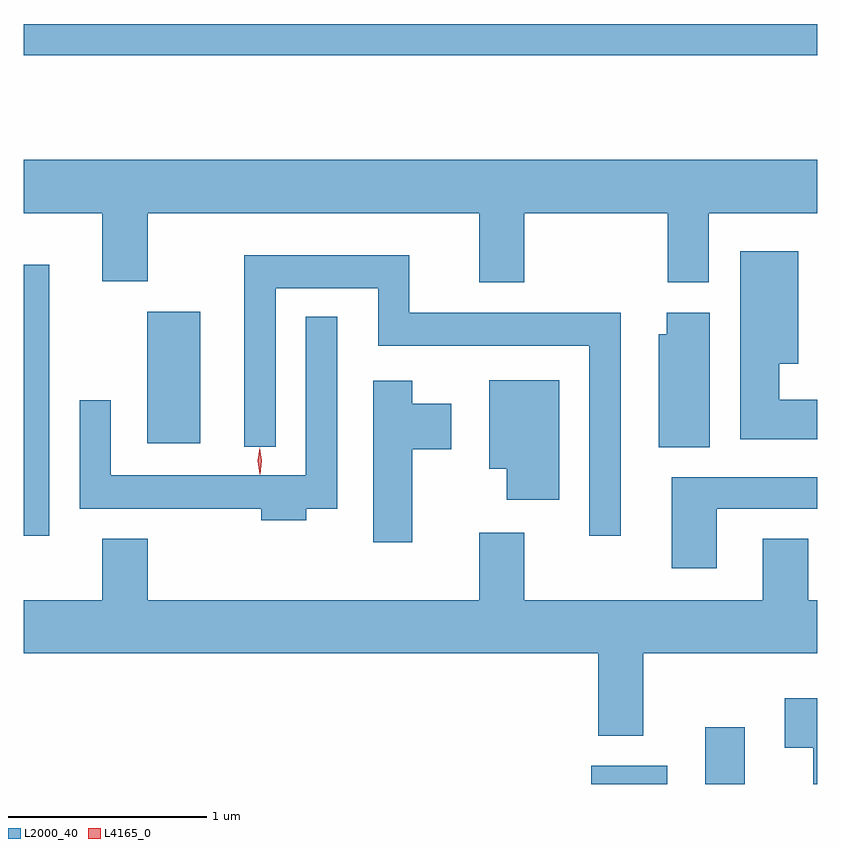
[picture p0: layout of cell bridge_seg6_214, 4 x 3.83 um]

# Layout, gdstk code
import gdstk
lib = gdstk.Library(unit=1e-6, precision=1e-09)
def R(c, l, rs):  # rectangles x0, y0, x1, y1
    for r in rs: c.add(gdstk.rectangle(r[:2], r[2:], *l))
def P(c, l, *ps):  # polygons
    for p in ps: c.add(gdstk.Polygon(p, *l))
L2000_40 = (2000, 40)
L4165_0 = (4165, 0)

bridge_seg6_214 = lib.new_cell('bridge_seg6_214')
R(bridge_seg6_214, L2000_40, [(1101.436,1533.837,1101.819,1533.929), (1102.011,1533.837,1102.209,1534.124), (1098.575,1535.088,1098.704,1536.454), (1099.196,1535.556,1099.464,1536.219), (1098.575,1537.511,1102.575,1537.669)])
P(bridge_seg6_214, L2000_40, [(1101.099,1536.716),(1101.821,1536.716),(1101.821,1536.366),(1102.029,1536.366),(1102.029,1536.716),(1102.575,1536.716),(1102.575,1536.984),(1098.575,1536.984),(1098.575,1536.716),(1098.971,1536.716),(1098.971,1536.371),(1099.199,1536.371),(1099.199,1536.716),(1100.871,1536.716),(1100.871,1536.366),(1101.099,1536.366)],
  [(1102.575,1535.774),(1102.384,1535.774),(1102.384,1535.956),(1102.479,1535.956),(1102.479,1536.524),(1102.186,1536.524),(1102.186,1535.576),(1102.575,1535.576)],
  [(1101.584,1536.214),(1100.519,1536.214),(1100.519,1536.504),(1099.686,1536.504),(1099.686,1535.538),(1099.844,1535.538),(1099.844,1536.336),(1100.361,1536.336),(1100.361,1536.046),(1101.426,1536.046),(1101.426,1535.088),(1101.584,1535.088)],
  [(1102.034,1536.214),(1101.816,1536.214),(1101.816,1536.104),(1101.776,1536.104),(1101.776,1535.536),(1102.034,1535.536)],
  [(1099.999,1535.226),(1100.154,1535.226),(1100.154,1536.193),(1099.996,1536.193),(1099.996,1535.394),(1099.014,1535.394),(1099.014,1535.773),(1098.856,1535.773),(1098.856,1535.226),(1099.771,1535.226),(1099.771,1535.166),(1099.999,1535.166)],
  [(1101.274,1535.874),(1100.921,1535.874),(1100.921,1535.426),(1101.011,1535.426),(1101.011,1535.271),(1101.274,1535.271)],
  [(1100.534,1535.526),(1100.729,1535.526),(1100.729,1535.754),(1100.534,1535.754),(1100.534,1535.869),(1100.336,1535.869),(1100.336,1535.056),(1100.534,1535.056)],
  [(1102.069,1535.226),(1102.575,1535.226),(1102.575,1535.384),(1101.841,1535.384),(1101.841,1534.926),(1102.069,1534.926)],
  [(1101.699,1534.496),(1102.575,1534.496),(1102.575,1534.764),(1102.529,1534.764),(1102.529,1535.074),(1102.301,1535.074),(1102.301,1534.764),(1101.099,1534.764),(1101.099,1535.104),(1100.871,1535.104),(1100.871,1534.764),(1099.199,1534.764),(1099.199,1535.074),(1098.971,1535.074),(1098.971,1534.764),(1098.575,1534.764),(1098.575,1534.496),(1101.471,1534.496),(1101.471,1534.081),(1101.699,1534.081)],
  [(1102.575,1534.269),(1102.411,1534.269),(1102.411,1534.021),(1102.556,1534.021),(1102.556,1533.837),(1102.575,1533.837)])
P(bridge_seg6_214, L4165_0, [(1099.765,1535.399),(1099.765,1535.4),(1099.755,1535.466),(1099.764,1535.532),(1099.765,1535.533),(1099.765,1535.532),(1099.775,1535.466),(1099.766,1535.4)])

lib.write_gds('bridge_seg6_214.gds')
